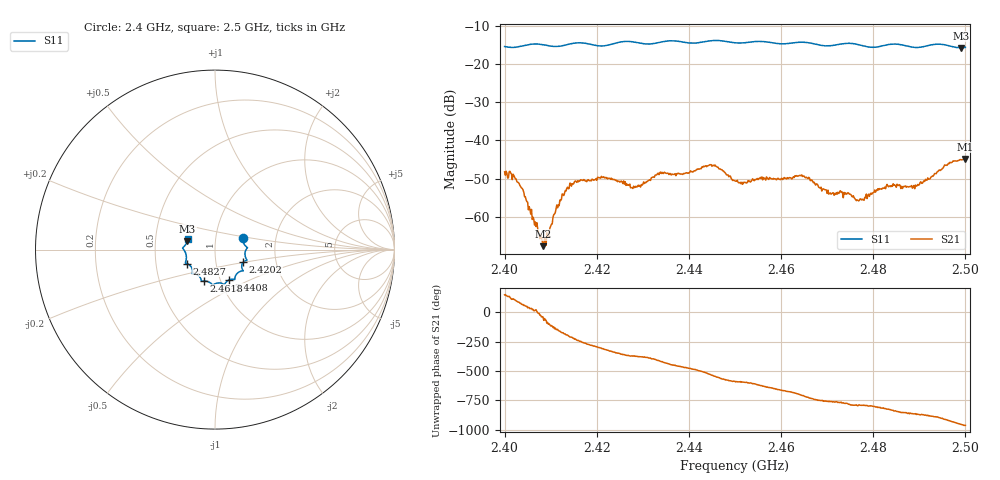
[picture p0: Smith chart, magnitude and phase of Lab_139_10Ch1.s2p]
# Hz S RI R 50
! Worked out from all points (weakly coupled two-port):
!   601 points, 2.4 GHz to 2.5 GHz, reference 50 ohm
!   highest |S21| = -44.88 dB at 2.5 GHz (marker M1); lowest = -67.7 dB at 2.4083 GHz (marker M2)
!   lowest |S11| = -15.8 dB at 2.499 GHz (marker M3), VSWR 1.39, Z = 36.5 + j3.53 ohm
!   |S11| at or under -10 dB: start of sweep to end of sweep
!   S12 and S22 are empty: the file has one direction only
!   S11 on the Smith chart (normalised r, x): 2.4 GHz: 1.36, +0.17; 2.4202 GHz: 1.36, -0.20; 2.4408 GHz: 1.10, -0.38; 2.4618 GHz: 0.84, -0.30; 2.4827 GHz: 0.72, -0.12; 2.5 GHz: 0.73, +0.09
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2.4e9  0.156 0.0623  -0.00332 0.00199  0 0  0 0
2.4035e9  0.1677 0.0227  0.000535 0.00241  0 0  0 0
2.408333e9  0.1778 0.00662  0.000315 -0.000268  0 0  0 0
2.409333e9  0.1733 2.29e-06  4.06e-05 -0.000583  0 0  0 0
2.411e9  0.1674 -0.0174  -0.000781 -0.000824  0 0  0 0
2.413e9  0.1696 -0.0411  -0.00203 0.000143  0 0  0 0
2.416667e9  0.1782 -0.0594  -0.000961 0.00288  0 0  0 0
2.420167e9  0.1569 -0.0705  0.00145 0.00295  0 0  0 0
2.427833e9  0.1532 -0.1181  0.00228 -0.000572  0 0  0 0
2.433333e9  0.1121 -0.1519  0.00243 -0.00283  0 0  0 0
2.440833e9  0.0788 -0.1687  -0.00212 -0.00321  0 0  0 0
2.445167e9  0.0532 -0.1939  -0.0047 -0.000256  0 0  0 0
2.45e9  0.0278 -0.1858  -0.00197 0.00218  0 0  0 0
2.461833e9  -0.0601 -0.1753  0.00239 0.00221  0 0  0 0
2.466667e9  -0.077 -0.1684  0.00295 -0.000757  0 0  0 0
2.4705e9  -0.1001 -0.1395  0.00159 -0.00125  0 0  0 0
2.4765e9  -0.1257 -0.1282  0.000468 -0.0016  0 0  0 0
2.482667e9  -0.1572 -0.0778  -0.00041 -0.00229  0 0  0 0
2.483333e9  -0.1613 -0.0762  -0.000671 -0.00238  0 0  0 0
2.489e9  -0.1595 -0.0365  -0.00192 -0.00133  0 0  0 0
2.499e9  -0.1545 0.0471  -0.00325 0.00453  0 0  0 0
2.5e9  -0.1518 0.0616  -0.00251 0.00512  0 0  0 0
